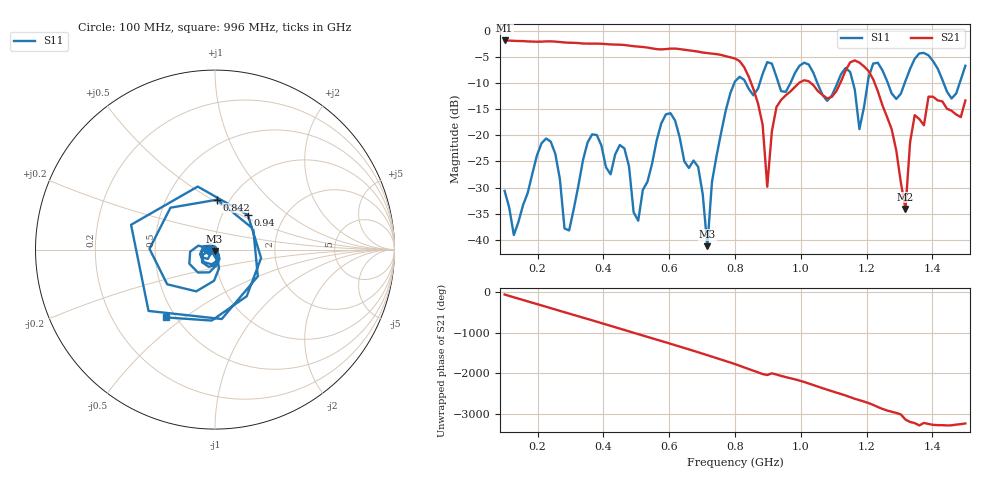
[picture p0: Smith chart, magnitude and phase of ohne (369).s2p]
! NanoVNA-App
! Date: 2025-09-25 14:23:40
! Start: 100MHz Stop: 1,5GHz Points: 101
! S-Parameter data: F S11 S21 S12 S22
# Hz S RI R 50
!  Frequency  S11_Real  S11_Imag  S21_Real  S21_Imag  S12_Real  S12_Imag  S22_Real  S22_Imag
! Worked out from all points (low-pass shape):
!   101 points, 100 MHz to 1.5 GHz, reference 50 ohm
!   highest |S21| = -1.79 dB at 100 MHz (marker M1); lowest = -34.1 dB at 1.318 GHz (marker M2)
!   |S21| within 3 dB of the highest: start of sweep to 770.7 MHz
!   lowest |S11| = -41.2 dB at 716 MHz (marker M3), VSWR 1.02, Z = 49.7 - j0.826 ohm
!   |S11| at or under -10 dB: start of sweep to 797.8 MHz; 833.2 MHz to 875.1 MHz (41.91 MHz wide, 4.91 % of centre); 1.051 GHz to 1.111 GHz (60.25 MHz wide, 5.58 % of centre) (the widest 3 of 7)
!   S12 and S22 are empty: the file has one direction only
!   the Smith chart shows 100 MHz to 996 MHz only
!   S11 on the Smith chart (normalised r, x): 100 MHz: 0.94, -0.01; 842 MHz: 0.88, +0.53; 940 MHz: 1.32, +0.55; 996 MHz: 0.45, -0.43
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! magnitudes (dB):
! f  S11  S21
! 100 MHz  -30.6  -1.8
! 128 MHz  -39.1  -1.9
! 226 MHz  -20.6  -2.0
! 296 MHz  -38.2  -2.2
! 338 MHz  -24.8  -2.4
! 464 MHz  -22.5  -2.7
! 506 MHz  -36.4  -3.0
! 576 MHz  -17.7  -3.5
! 688 MHz  -26.0  -3.9
! 716 MHz  -41.2  -4.2
! 800 MHz  -9.7  -5.3
! 842 MHz  -11.1  -8.8
! 898 MHz  -6.0  -29.8
! 940 MHz  -11.5  -13.2
! 996 MHz  -6.6  -9.9
! 1.038 GHz  -8.0  -10.4
! 1.178 GHz  -18.8  -6.0
! 1.22 GHz  -6.2  -9.3
! 1.276 GHz  -12.0  -18.8
! 1.318 GHz  -9.5  -34.1
! 1.346 GHz  -5.3  -16.1
! 1.5 GHz  -6.6  -13.3
